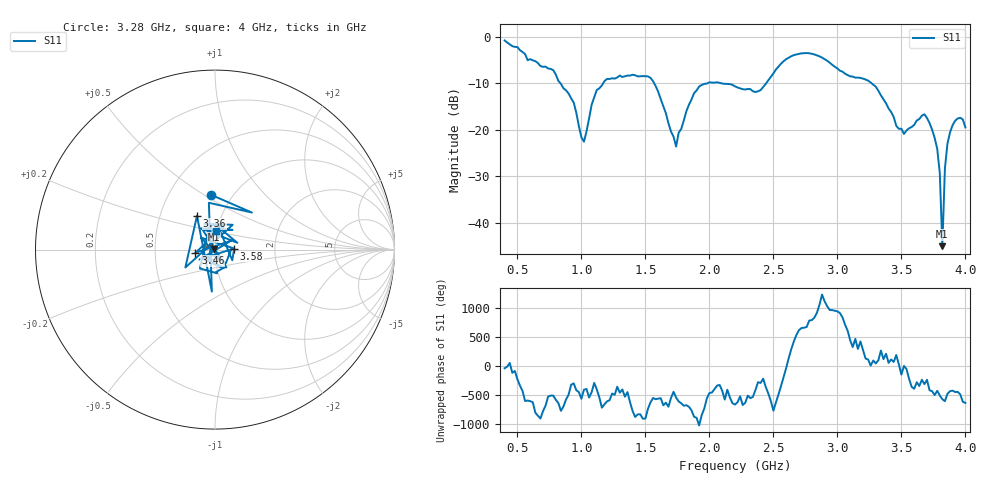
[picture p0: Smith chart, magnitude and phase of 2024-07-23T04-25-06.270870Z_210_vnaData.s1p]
!Created with skrf (http://scikit-rf.org).
# Hz S RI R 50.0
!freq ReS11 ImS11
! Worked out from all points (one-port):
!   181 points, 400 MHz to 4 GHz, reference 50 ohm
!   lowest |S11| = -45.0 dB at 3.82 GHz (marker M1), VSWR 1.01, Z = 49.5 + j0.285 ohm
!   |S11| at or under -10 dB: 1.569 GHz to 1.984 GHz (414.9 MHz wide, 23.4 % of centre); 2.095 GHz to 2.443 GHz (348.5 MHz wide, 15.4 % of centre); 3.268 GHz to end of sweep (the widest 3 of 4)
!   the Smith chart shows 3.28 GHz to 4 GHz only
!   S11 on the Smith chart (normalised r, x): 3.28 GHz: 0.80, +0.54; 3.36 GHz: 0.77, +0.30; 3.46 GHz: 0.80, -0.03; 3.58 GHz: 1.24, +0.02; 4 GHz: 0.99, +0.21
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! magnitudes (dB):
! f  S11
! 400 MHz  -0.8
! 780 MHz  -7.2
! 860 MHz  -11.1
! 940 MHz  -14.1
! 1.02 GHz  -22.5
! 1.12 GHz  -11.4
! 1.3 GHz  -8.3
! 1.54 GHz  -8.8
! 1.74 GHz  -23.6
! 1.76 GHz  -20.6
! 1.92 GHz  -10.7
! 2.2 GHz  -10.6
! 2.4 GHz  -11.5
! 2.66 GHz  -3.9
! 3.1 GHz  -8.5
! 3.28 GHz  -10.3
! 3.36 GHz  -13.4
! 3.46 GHz  -19.1
! 3.56 GHz  -19.7
! 3.58 GHz  -19.4
! 3.68 GHz  -16.7
! 3.76 GHz  -21.8
! 3.8 GHz  -29.3
! 3.82 GHz  -45.0
! 3.84 GHz  -28.3
! 3.86 GHz  -23.0
! 3.94 GHz  -17.5
! 4 GHz  -19.5
